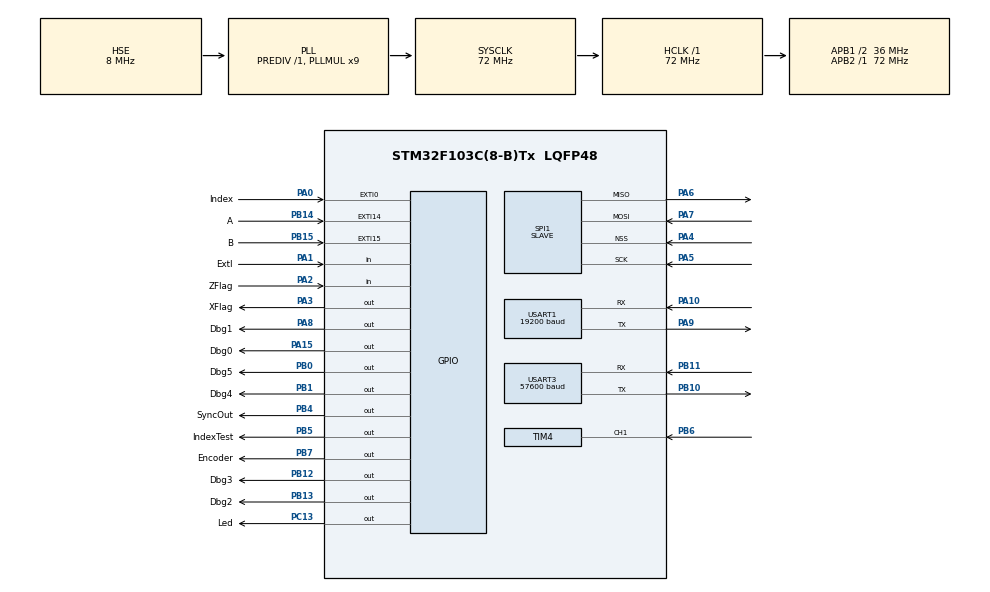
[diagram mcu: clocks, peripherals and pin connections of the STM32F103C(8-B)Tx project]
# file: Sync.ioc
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Mcu.Family=STM32F1
Mcu.Name=STM32F103C(8-B)Tx
Mcu.Package=LQFP48
NVIC.EXTI15_10_IRQn=true\:5\:0\:true\:false\:false\:true\:false\:true
NVIC.PriorityGroup=NVIC_PRIORITYGROUP_4
NVIC.SPI1_IRQn=true\:3\:0\:true\:false\:false\:true\:false\:true
NVIC.TIM2_IRQn=true\:6\:0\:true\:false\:false\:true\:false\:true
NVIC.TIM3_IRQn=true\:4\:0\:true\:false\:false\:true\:false\:true
NVIC.TIM4_IRQn=true\:4\:0\:true\:false\:false\:true\:false\:true
NVIC.USART3_IRQn=true\:3\:0\:true\:false\:false\:true\:false\:true
PA0-WKUP.GPIO_Label=Index
PA0-WKUP.GPIO_PuPd=GPIO_PULLUP
PA0-WKUP.Signal=GPXTI0
PA1.GPIO_Label=ExtI
PA1.GPIO_PuPd=GPIO_PULLUP
PA1.Signal=GPIO_Input
PA10.Mode=Asynchronous
PA10.Signal=USART1_RX
PA11.Signal=USB_DM
PA12.Signal=USB_DP
PA13.Mode=Trace_Asynchronous_SW
PA13.Signal=SYS_JTMS-SWDIO
PA14.Mode=Trace_Asynchronous_SW
PA14.Signal=SYS_JTCK-SWCLK
PA15.GPIO_Label=Dbg0
PA15.Signal=GPIO_Output
PA2.GPIO_Label=ZFlag
PA2.GPIO_PuPd=GPIO_PULLUP
PA2.Signal=GPIO_Input
PA3.GPIO_Label=XFlag
PA3.Signal=GPIO_Output
PA4.Mode=NSS_Signal_Hard_Input
PA4.Signal=SPI1_NSS
PA5.Mode=Full_Duplex_Slave
PA5.Signal=SPI1_SCK
PA6.Mode=Full_Duplex_Slave
PA6.Signal=SPI1_MISO
PA7.Mode=Full_Duplex_Slave
PA7.Signal=SPI1_MOSI
PA8.GPIO_Label=Dbg1
PA8.Signal=GPIO_Output
PA9.Mode=Asynchronous
PA9.Signal=USART1_TX
PB0.GPIO_Label=Dbg5
PB0.Signal=GPIO_Output
PB1.GPIO_Label=Dbg4
PB1.Signal=GPIO_Output
PB10.Mode=Asynchronous
PB10.Signal=USART3_TX
PB11.Mode=Asynchronous
PB11.Signal=USART3_RX
PB12.GPIO_Label=Dbg3
PB12.Signal=GPIO_Output
PB13.GPIO_Label=Dbg2
PB13.Signal=GPIO_Output
PB14.GPIO_Label=A
PB14.GPIO_ModeDefaultEXTI=GPIO_MODE_IT_RISING_FALLING
PB14.GPIO_PuPd=GPIO_PULLUP
PB14.Signal=GPXTI14
PB15.GPIO_Label=B
PB15.GPIO_ModeDefaultEXTI=GPIO_MODE_IT_RISING_FALLING
PB15.GPIO_PuPd=GPIO_PULLUP
PB15.Signal=GPXTI15
PB3.Mode=Trace_Asynchronous_SW
PB3.Signal=SYS_JTDO-TRACESWO
PB4.GPIO_Label=SyncOut
PB4.Signal=GPIO_Output
PB5.GPIO_Label=IndexTest
PB5.Signal=GPIO_Output
PB6.Signal=S_TIM4_CH1
PB7.GPIO_Label=Encoder
PB7.Signal=GPIO_Output
PB8.Signal=I2C1_SCL
PB9.Signal=I2C1_SDA
PC13-TAMPER-RTC.GPIO_Label=Led
PC13-TAMPER-RTC.Signal=GPIO_Output
PD0-OSC_IN.Mode=HSE-External-Oscillator
PD0-OSC_IN.Signal=RCC_OSC_IN
PD1-OSC_OUT.Mode=HSE-External-Oscillator
PD1-OSC_OUT.Signal=RCC_OSC_OUT
ProjectManager.HeapSize=0x200
ProjectManager.StackSize=0x400
ProjectManager.TargetToolchain=STM32CubeIDE
RCC.AHBFreq_Value=72000000
RCC.APB1CLKDivider=RCC_HCLK_DIV2
RCC.APB1Freq_Value=36000000
RCC.APB1TimFreq_Value=72000000
RCC.APB2Freq_Value=72000000
RCC.APB2TimFreq_Value=72000000
RCC.HCLKFreq_Value=72000000
RCC.PLLMUL=RCC_PLL_MUL9
RCC.PLLSourceVirtual=RCC_PLLSOURCE_HSE
RCC.SYSCLKFreq_VALUE=72000000
RCC.SYSCLKSource=RCC_SYSCLKSOURCE_PLLCLK
RCC.USBFreq_Value=72000000
SH.S_TIM4_CH1.0=TIM4_CH1,Input_Capture1_from_TI1
SPI1.Direction=SPI_DIRECTION_2LINES
SPI1.Mode=SPI_MODE_SLAVE
SPI1.VirtualNSS=VM_NSSHARD
SPI1.VirtualType=VM_SLAVE
TIM4.Channel-Input_Capture1_from_TI1=TIM_CHANNEL_1
USART1.BaudRate=19200
USART1.VirtualMode=VM_ASYNC
USART3.BaudRate=57600
USART3.VirtualMode=VM_ASYNC
VP_TIM2_VS_ClockSourceINT.Mode=Internal
VP_TIM3_VS_ClockSourceINT.Mode=Internal
VP_TIM4_VS_ClockSourceINT.Mode=Internal
board=Sync

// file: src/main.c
/* USER CODE BEGIN Header */
/**
  ******************************************************************************
  * @file           : main.c
  * @brief          : Main program body
  ******************************************************************************
  ** This notice applies to any and all portions of this file
  * that are not between comment pairs USER CODE BEGIN and
  * USER CODE END. Other portions of this file, whether
  * inserted by the user or by software development tools
  * are owned by their respective copyright owners.
  *
  * COPYRIGHT(c) 2018 STMicroelectronics
  *
  * Redistribution and use in source and binary forms, with or without modification,
  * are permitted provided that the following conditions are met:
  *   1. Redistributions of source code must retain the above copyright notice,
  *      this list of conditions and the following disclaimer.
  *   2. Redistributions in binary form must reproduce the above copyright notice,
  *      this list of conditions and the following disclaimer in the documentation
  *      and/or other materials provided with the distribution.
  *   3. Neither the name of STMicroelectronics nor the names of its contributors
  *      may be used to endorse or promote products derived from this software
  *      without specific prior written permission.
  *
  * THIS SOFTWARE IS PROVIDED BY THE COPYRIGHT HOLDERS AND CONTRIBUTORS "AS IS"
  * AND ANY EXPRESS OR IMPLIED WARRANTIES, INCLUDING, BUT NOT LIMITED TO, THE
  * IMPLIED WARRANTIES OF MERCHANTABILITY AND FITNESS FOR A PARTICULAR PURPOSE ARE
  * DISCLAIMED. IN NO EVENT SHALL THE COPYRIGHT HOLDER OR CONTRIBUTORS BE LIABLE
  * FOR ANY DIRECT, INDIRECT, INCIDENTAL, SPECIAL, EXEMPLARY, OR CONSEQUENTIAL
  * DAMAGES (INCLUDING, BUT NOT LIMITED TO, PROCUREMENT OF SUBSTITUTE GOODS OR
  * SERVICES; LOSS OF USE, DATA, OR PROFITS; OR BUSINESS INTERRUPTION) HOWEVER
  * CAUSED AND ON ANY THEORY OF LIABILITY, WHETHER IN CONTRACT, STRICT LIABILITY,
  * OR TORT (INCLUDING NEGLIGENCE OR OTHERWISE) ARISING IN ANY WAY OUT OF THE USE
  * OF THIS SOFTWARE, EVEN IF ADVISED OF THE POSSIBILITY OF SUCH DAMAGE.
  *
  ******************************************************************************
  */
/* USER CODE END Header */
#include "main.h"
#include "spi.h"
#include "tim.h"
#include "usart.h"
#include "gpio.h"

/* USER CODE BEGIN Includes */
#include <stdio.h>
#include <errno.h>
#include <sys/types.h>
/* USER CODE END Includes */

/* USER CODE BEGIN PV */
/* Private variables ---------------------------------------------------------*/

/* USER CODE END PV */

void SystemClock_Config(void);

/* USER CODE BEGIN 0 */

void syncLoop(void);

void _init(void);
caddr_t _sbrk(int incr);
void _close(void);
void _lseek(void);
int _isatty(void);
void _read(void);
int _fstat(void);

ssize_t _write (int fd, const char* buf, size_t nbyte);

/* USER CODE END 0 */

int main(void)
{

  /* MCU Configuration--------------------------------------------------------*/

  /* Reset of all peripherals, Initializes the Flash interface and the Systick. */
  HAL_Init();

  /* Configure the system clock */
  SystemClock_Config();

  /* Initialize all configured peripherals */
  MX_GPIO_Init();
  MX_USART1_UART_Init();
  MX_TIM4_Init();
  MX_TIM3_Init();
  MX_USART3_UART_Init();
  MX_TIM2_Init();
  MX_SPI1_Init();
  /* USER CODE BEGIN 2 */

  syncLoop();

  /* USER CODE END 2 */

  /* Infinite loop */
  while (1)
  {

  }
}

void SystemClock_Config(void)
{
  RCC_OscInitTypeDef RCC_OscInitStruct = {0};
  RCC_ClkInitTypeDef RCC_ClkInitStruct = {0};

  /** Initializes the RCC Oscillators according to the specified parameters
  * in the RCC_OscInitTypeDef structure.
  */
  RCC_OscInitStruct.OscillatorType = RCC_OSCILLATORTYPE_HSE;
  RCC_OscInitStruct.HSEState = RCC_HSE_ON;
  RCC_OscInitStruct.HSEPredivValue = RCC_HSE_PREDIV_DIV1;
  RCC_OscInitStruct.HSIState = RCC_HSI_ON;
  RCC_OscInitStruct.PLL.PLLState = RCC_PLL_ON;
  RCC_OscInitStruct.PLL.PLLSource = RCC_PLLSOURCE_HSE;
  RCC_OscInitStruct.PLL.PLLMUL = RCC_PLL_MUL9;
  if (HAL_RCC_OscConfig(&RCC_OscInitStruct) != HAL_OK)
  {
    Error_Handler();
  }

  /** Initializes the CPU, AHB and APB buses clocks
  */
  RCC_ClkInitStruct.ClockType = RCC_CLOCKTYPE_HCLK|RCC_CLOCKTYPE_SYSCLK
                              |RCC_CLOCKTYPE_PCLK1|RCC_CLOCKTYPE_PCLK2;
  RCC_ClkInitStruct.SYSCLKSource = RCC_SYSCLKSOURCE_PLLCLK;
  RCC_ClkInitStruct.AHBCLKDivider = RCC_SYSCLK_DIV1;
  RCC_ClkInitStruct.APB1CLKDivider = RCC_HCLK_DIV2;
  RCC_ClkInitStruct.APB2CLKDivider = RCC_HCLK_DIV1;

  if (HAL_RCC_ClockConfig(&RCC_ClkInitStruct, FLASH_LATENCY_2) != HAL_OK)
  {
    Error_Handler();
  }
}

/* USER CODE BEGIN 4 */

#if !defined(CLION)
void _init(void)
{
}
#endif

caddr_t _sbrk(int incr)
{
 extern char _end;		/* Defined by the linker */
 static char *heap_end;
 char *prev_heap_end;
 char *sp = (char *)&sp;

 if (heap_end == 0)
 {
  heap_end = &_end;
 }
 prev_heap_end = heap_end;
 heap_end += incr;
 if (heap_end > sp)
 {
  _write (1, "Heap and stack collision\n", 25);
//  errno = ENOMEM;
  return (caddr_t)-1;
 }
 return (caddr_t) prev_heap_end;
}

void _close(void)
{
}

int _fstat(void)
{
 return(0);
}

int _isatty(void)
{
 return(1);
}

void _lseek(void)
{
}

void _read(void)
{
}

int _getpid(void);
int _kill(int pid, int sig);
void _exit (int status);
//#define EINVAL -1
//extern int errno;

int _getpid(void)
{
	return 1;
}

int _kill(__attribute__((unused)) int pid, __attribute__((unused)) int sig)
{
	errno = EINVAL;
	return -1;
}

void _exit (int status)
{
	_kill(status, -1);
	while (1) {}		/* Make sure we hang here */
}

/* USER CODE END 4 */

void Error_Handler(void)
{
  while(1)
  {
  }
}

#ifdef  USE_FULL_ASSERT
/**
  * @brief  Reports the name of the source file and the source line number
  *         where the assert_param error has occurred.
  * @param  file: pointer to the source file name
  * @param  line: assert_param error line source number
  * @retval None
  */
void assert_failed(uint8_t *file, uint32_t line)
{
  /* USER CODE BEGIN 6 */
 printf("assert_failed %s line %ld\n", file, line);
  /* User can add his own implementation to report the file name and line number,
     tex: printf("Wrong parameters value: file %s on line %d\r\n", file, line) */
  /* USER CODE END 6 */
}
#endif /* USE_FULL_ASSERT */
